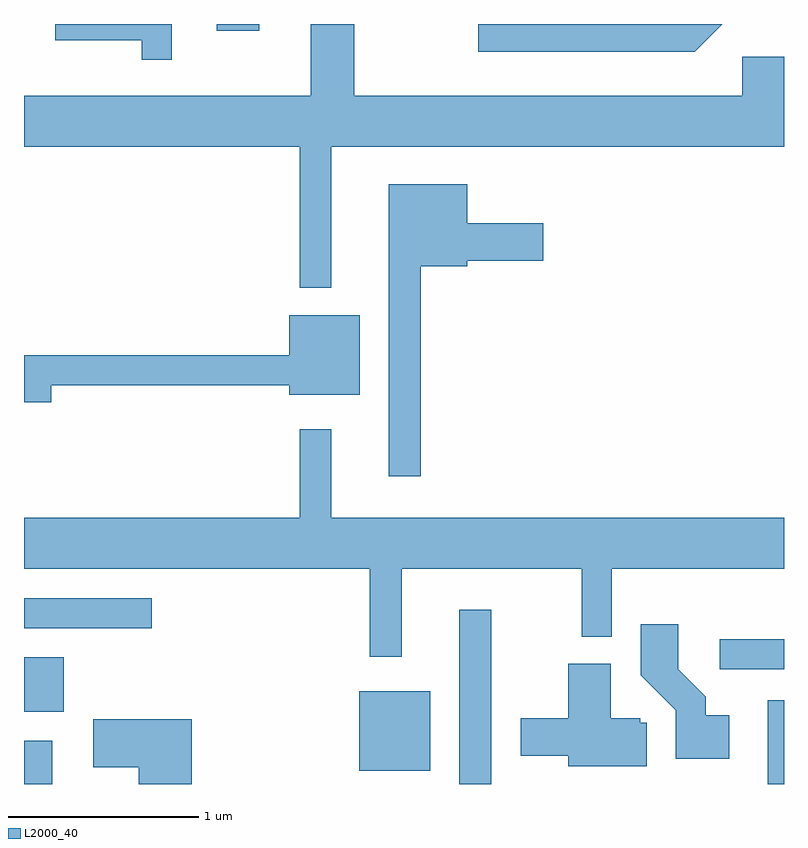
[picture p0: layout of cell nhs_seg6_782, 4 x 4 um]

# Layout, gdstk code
import gdstk
lib = gdstk.Library(unit=1e-6, precision=1e-09)
def R(c, l, rs):  # rectangles x0, y0, x1, y1
    for r in rs: c.add(gdstk.rectangle(r[:2], r[2:], *l))
def P(c, l, *ps):  # polygons
    for p in ps: c.add(gdstk.Polygon(p, *l))
L2000_40 = (2000, 40)

nhs_seg6_782 = lib.new_cell('nhs_seg6_782')
R(nhs_seg6_782, L2000_40, [(207.611,1622.162,207.759,1622.389), (209.901,1622.162,210.069,1623.078), (211.526,1622.162,211.611,1622.604), (209.376,1622.231,209.749,1622.649), (207.611,1622.541,207.819,1622.829), (211.273,1622.766,211.611,1622.924), (207.611,1622.981,208.283,1623.139), (208.626,1626.126,208.849,1626.162)])
P(nhs_seg6_782, L2000_40, [(209.229,1625.516),(211.611,1625.516),(211.611,1625.989),(211.391,1625.989),(211.391,1625.784),(209.349,1625.784),(209.349,1626.162),(209.121,1626.162),(209.121,1625.784),(207.611,1625.784),(207.611,1625.516),(209.061,1625.516),(209.061,1624.773),(209.229,1624.773)],
  [(211.287,1626.162),(210.003,1626.162),(210.003,1626.016),(211.142,1626.016)],
  [(208.389,1626.162),(207.776,1626.162),(207.776,1626.076),(208.231,1626.076),(208.231,1625.973),(208.389,1625.973)],
  [(209.699,1624.886),(209.944,1624.886),(209.944,1624.916),(210.344,1624.916),(210.344,1625.114),(209.944,1625.114),(209.944,1625.319),(209.531,1625.319),(209.531,1623.783),(209.699,1623.783)],
  [(207.754,1624.261),(209.006,1624.261),(209.006,1624.211),(209.379,1624.211),(209.379,1624.629),(209.006,1624.629),(209.006,1624.419),(207.611,1624.419),(207.611,1624.171),(207.754,1624.171)],
  [(209.599,1623.296),(210.546,1623.296),(210.546,1622.938),(210.704,1622.938),(210.704,1623.296),(211.611,1623.296),(211.611,1623.564),(209.229,1623.564),(209.229,1624.028),(209.061,1624.028),(209.061,1623.564),(207.611,1623.564),(207.611,1623.296),(209.431,1623.296),(209.431,1622.833),(209.599,1622.833)],
  [(211.324,1622.524),(211.199,1622.524),(211.199,1622.622),(211.054,1622.767),(211.054,1623.004),(210.856,1623.004),(210.856,1622.734),(211.041,1622.549),(211.041,1622.296),(211.324,1622.296)],
  [(210.889,1622.484),(210.854,1622.484),(210.854,1622.509),(210.699,1622.509),(210.699,1622.794),(210.476,1622.794),(210.476,1622.509),(210.226,1622.509),(210.226,1622.311),(210.476,1622.311),(210.476,1622.256),(210.889,1622.256)],
  [(208.494,1622.504),(207.976,1622.504),(207.976,1622.251),(208.216,1622.251),(208.216,1622.162),(208.494,1622.162)])

lib.write_gds('nhs_seg6_782.gds')
